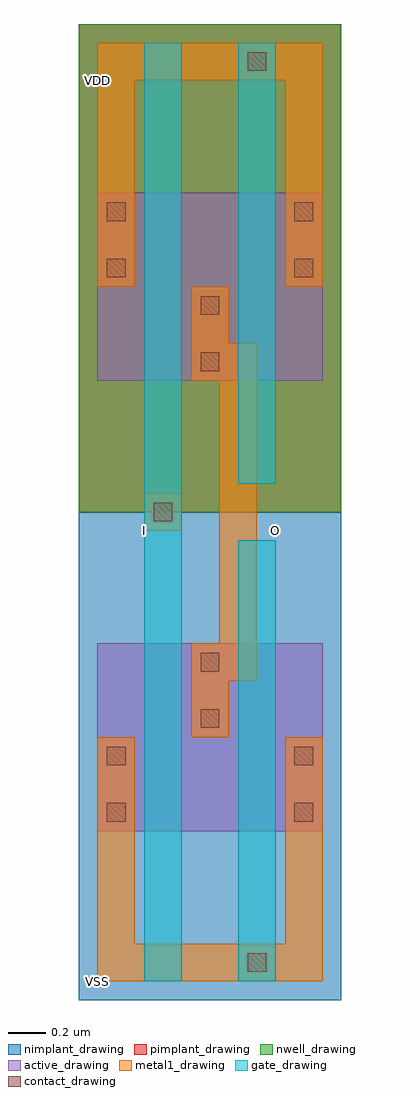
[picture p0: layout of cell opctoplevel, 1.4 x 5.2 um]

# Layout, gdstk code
import gdstk
lib = gdstk.Library(unit=1e-6, precision=1e-09)
def R(c, l, rs):  # rectangles x0, y0, x1, y1
    for r in rs: c.add(gdstk.rectangle(r[:2], r[2:], *l))
active_drawing = (1, 0)
nwell_drawing = (3, 0)
pimplant_drawing = (4, 0)
nimplant_drawing = (5, 0)
gate_drawing = (6, 0)
contact_drawing = (7, 0)
metal1_drawing = (8, 0)

opctoplevel = lib.new_cell('opctoplevel')
R(opctoplevel, active_drawing, [(-0.25,0,0.45,1), (0.25,0,0.95,1), (-0.25,2.4,0.45,3.4), (0.25,2.4,0.95,3.4)])
R(opctoplevel, nwell_drawing, [(-0.35,1.7,0.55,4.3), (0.15,1.7,1.05,4.3)])
R(opctoplevel, pimplant_drawing, [(-0.35,1.7,0.55,4.3), (0.15,1.7,1.05,4.3)])
R(opctoplevel, nimplant_drawing, [(-0.35,-0.9,0.55,1.7), (0.15,-0.9,1.05,1.7)])
R(opctoplevel, gate_drawing, [(0,-0.8,0.2,1.8), (0.5,-0.8,0.7,1.55), (0,1.7,0.2,4.2), (0.5,1.85,0.7,4.2)])
R(opctoplevel, contact_drawing, [(0.55,-0.75,0.65,-0.65), (-0.2,0.05,-0.1,0.15), (0.8,0.05,0.9,0.15), (-0.2,0.35,-0.1,0.45), (0.8,0.35,0.9,0.45), (0.3,0.55,0.4,0.65), (0.3,0.85,0.4,0.95), (0.05,1.65,0.15,1.75), (0.3,2.45,0.4,2.55), (0.3,2.75,0.4,2.85), (-0.2,2.95,-0.1,3.05), (0.8,2.95,0.9,3.05), (-0.2,3.25,-0.1,3.35), (0.8,3.25,0.9,3.35), (0.55,4.05,0.65,4.15)])
R(opctoplevel, metal1_drawing, [(-0.25,-0.8,0.95,-0.6), (0.5,-0.8,0.7,-0.6), (-0.25,-0.6,-0.05,0), (0.75,-0.6,0.95,0), (-0.25,0,-0.05,0.5), (0.75,0,0.95,0.5), (0.25,0.5,0.45,1), (0,1.6,0.2,1.8), (0,1.6,0.2,1.8), (0.25,2.4,0.45,2.9), (-0.25,2.9,-0.05,3.4), (0.75,2.9,0.95,3.4), (-0.25,3.4,-0.05,4), (0.75,3.4,0.95,4), (-0.25,4,0.95,4.2), (0.5,4,0.7,4.2)])
opctoplevel.add(gdstk.FlexPath([(0.25,2.5),(0.5,2.5),(0.5,0.9),(0.25,0.9)], 0.2, ends="flush", simple_path=True, layer=8, datatype=0))  # metal1_drawing
opctoplevel.add(gdstk.Label('I', (0,1.6), layer=8, texttype=1))
opctoplevel.add(gdstk.Label('O', (0.7,1.6), layer=8, texttype=1))
opctoplevel.add(gdstk.Label('VDD', (-0.25,4), layer=8, texttype=1))
opctoplevel.add(gdstk.Label('VSS', (-0.25,-0.8), layer=8, texttype=1))

lib.write_gds('opctoplevel.gds')
